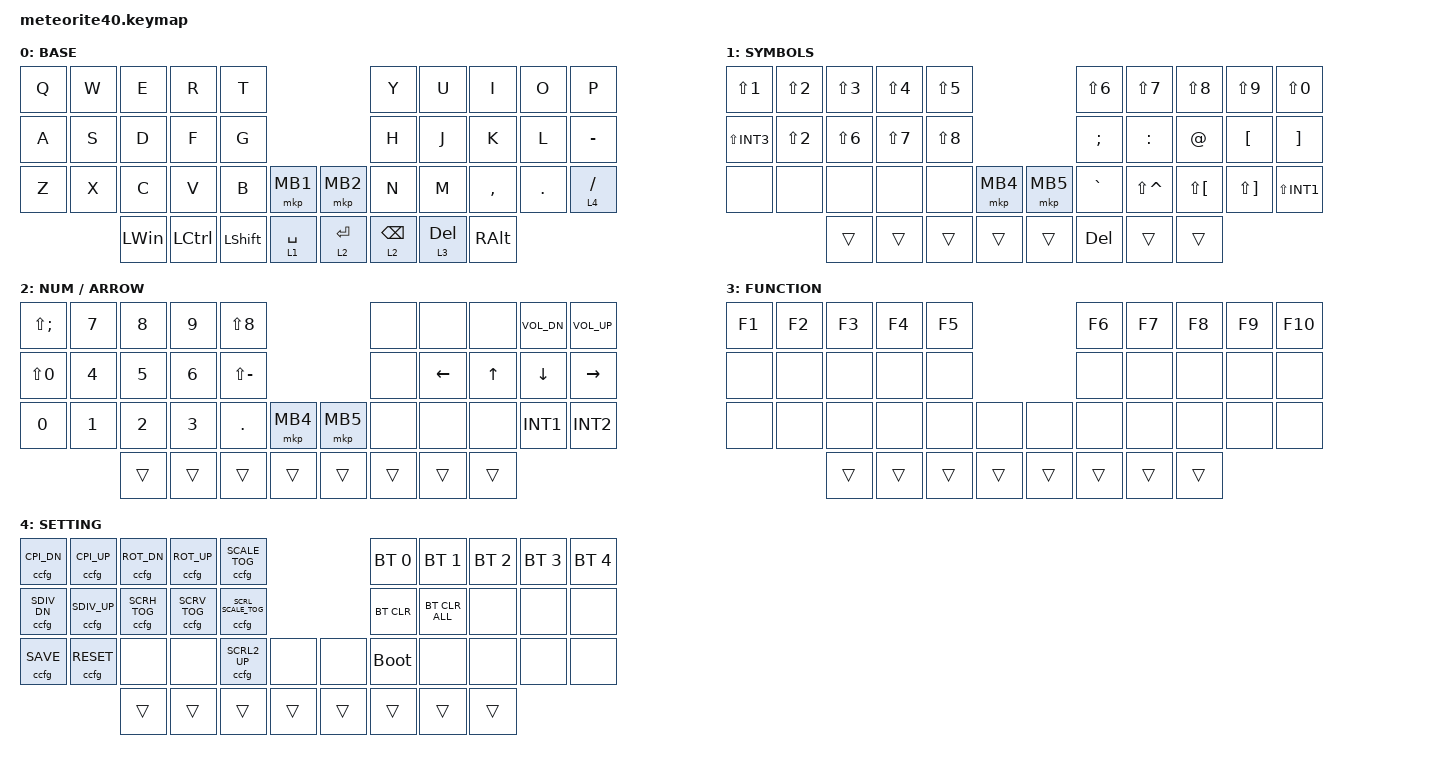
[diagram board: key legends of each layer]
#include <behaviors.dtsi>
#include <dt-bindings/zmk/bt.h>
#include <dt-bindings/zmk/keys.h>
#include <dt-bindings/zmk/pointing.h>

/* エラー回避のための重要なインクルード */
#include <behaviors/custom_config.dtsi>
#include <behaviors/meteorite_custom_key.dtsi>
#include <behaviors/meteorite_bt_os.dtsi>
#include <behaviors/meteorite_mod_key.dtsi>
#include <behaviors/meteorite_os_key.dtsi>
#include <dt-bindings/zmk/custom_config.h>
#include <dt-bindings/zmk/meteorite_custom_keys.h>
#include <dt-bindings/zmk/meteorite_bt_os.h>

/ {
    keymap {
        compatible = "zmk,keymap";
        layout = &LOW_PROFILE_DEFAULT;

        win_default_layer {
            display-name = "BASE";
            bindings = <
                &kp Q        &kp W       &kp E        &kp R        &kp T                                 &kp Y        &kp U        &kp I       &kp O  &kp P
                &kp A        &kp S       &kp D        &kp F        &kp G                                 &kp H        &kp J        &kp K       &kp L  &kp MINUS
                &kp Z        &kp X       &kp C        &kp V        &kp B        &mkp MB1     &mkp MB2    &kp N        &kp M        &kp COMMA   &kp DOT  &lt 4 SLASH
                                    &kp LWIN  &kp LCTRL  &kp LSHIFT  &lt 1 SPACE  &lt 2 ENTER  &lt 2 BSPC  &lt 3 DEL  &kp RALT
            >;
        };

        layer_1 {
            display-name = "SYMBOLS";
            bindings = <
                &kp LS(N1)   &kp LS(N2)  &kp LS(N3)  &kp LS(N4)  &kp LS(N5)                    &kp LS(N6) &kp LS(N7) &kp LS(N8) &kp LS(N9) &kp LS(N0)
                &kp LS(INT3) &kp LS(N2)  &kp LS(N6)  &kp LS(N7)  &kp LS(N8)                    &kp SEMI   &kp COLON  &kp AT     &kp LBKT   &kp RBKT
                &none        &none       &none       &none       &none      &mkp MB4  &mkp MB5 &kp GRAVE  &kp LS(CARET) &kp LS(LBKT) &kp LS(RBKT) &kp LS(INT1)
                                     &trans     &trans    &trans    &trans    &trans     &kp DEL    &trans     &trans
            >;
        };

        layer_2 {
            display-name = "NUM / ARROW";
            bindings = <
                &kp LS(SEMICOLON) &kp N7     &kp N8     &kp N9     &kp LS(N8)                     &none  &none     &none   &kp C_VOL_DN &kp C_VOL_UP
                &kp LS(N0)        &kp N4     &kp N5     &kp N6     &kp LS(MINUS)                  &none  &kp LEFT  &kp UP  &kp DOWN     &kp RIGHT
                &kp N0            &kp N1     &kp N2     &kp N3     &kp DOT    &mkp MB4   &mkp MB5  &none  &none     &none   &kp INT1     &kp INT2
                                        &trans           &trans     &trans      &trans    &trans        &trans  &trans    &trans
            >;
        };

        layer_3 {
            display-name = "FUNCTION";
            bindings = <
                &kp F1  &kp F2  &kp F3  &kp F4  &kp F5                  &kp F6  &kp F7  &kp F8  &kp F9  &kp F10
                &none   &none   &none   &none   &none                   &none   &none   &none   &none   &none
                &none   &none   &none   &none   &none   &none   &none   &none   &none   &none    &none  &none
                                &trans  &trans  &trans  &trans  &trans  &trans  &trans  &trans
            >;
        };

        layer_4 {
            display-name = "SETTING";
            bindings = <
                &ccfg C_CPI_DN  &ccfg C_CPI_UP  &ccfg C_ROT_DN   &ccfg C_ROT_UP   &ccfg C_SCALE_TOG                        &bt BT_SEL 0   &bt BT_SEL 1    &bt BT_SEL 2  &bt BT_SEL 3  &bt BT_SEL 4
                &ccfg C_SDIV_DN &ccfg C_SDIV_UP &ccfg C_SCRH_TOG &ccfg C_SCRV_TOG &ccfg C_SCRL_SCALE_TOG                   &bt BT_CLR     &bt BT_CLR_ALL  &none         &none         &none
                &ccfg C_SAVE    &ccfg C_RESET   &none            &none            &ccfg C_SCRL2_UP         &none  &none    &bootloader    &none           &none         &none         &none
                                                                    &trans       &trans  &trans  &trans  &trans  &trans    &trans        &trans
            >;
        };
    };
};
